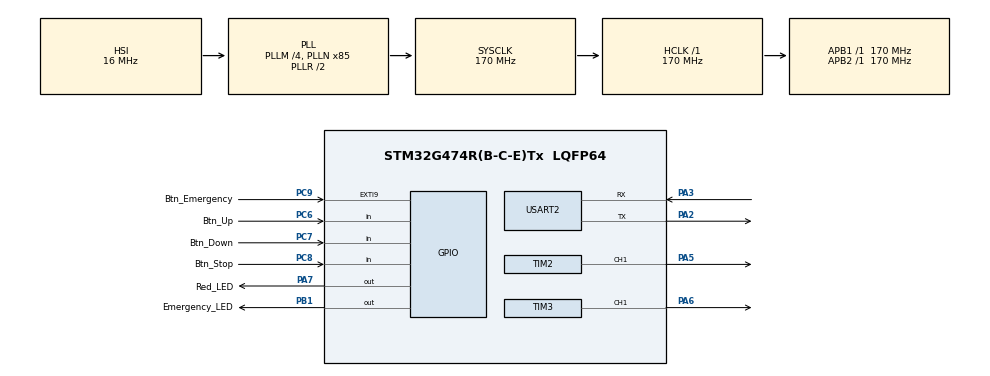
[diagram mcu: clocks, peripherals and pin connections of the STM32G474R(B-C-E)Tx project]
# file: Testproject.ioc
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Mcu.Family=STM32G4
Mcu.Name=STM32G474R(B-C-E)Tx
Mcu.Package=LQFP64
NVIC.EXTI9_5_IRQn=true\:0\:0\:false\:false\:true\:true\:true\:true
NVIC.PriorityGroup=NVIC_PRIORITYGROUP_4
NVIC.USART2_IRQn=true\:1\:0\:true\:false\:true\:true\:true\:true
PA13.GPIO_Label=T_SWDIO
PA13.Signal=SYS_JTMS-SWDIO
PA14.GPIO_Label=T_SWCLK
PA14.Signal=SYS_JTCK-SWCLK
PA2.Mode=Asynchronous
PA2.Signal=USART2_TX
PA3.Mode=Asynchronous
PA3.Signal=USART2_RX
PA5.Signal=S_TIM2_CH1
PA6.Signal=S_TIM3_CH1
PA7.GPIO_Label=Red_LED
PA7.Signal=GPIO_Output
PB1.GPIO_Label=Emergency_LED
PB1.Signal=GPIO_Output
PB3.GPIO_Label=T_SWO
PB3.Signal=SYS_JTDO-SWO
PC14-OSC32_IN.GPIO_Label=RCC_OSC32_IN
PC14-OSC32_IN.Signal=RCC_OSC32_IN
PC15-OSC32_OUT.GPIO_Label=RCC_OSC32_OUT
PC15-OSC32_OUT.Signal=RCC_OSC32_OUT
PC6.GPIO_Label=Btn_Up
PC6.GPIO_PuPd=GPIO_PULLUP
PC6.Signal=GPIO_Input
PC7.GPIO_Label=Btn_Down
PC7.GPIO_PuPd=GPIO_PULLUP
PC7.Signal=GPIO_Input
PC8.GPIO_Label=Btn_Stop
PC8.Signal=GPIO_Input
PC9.GPIO_Label=Btn_Emergency
PC9.Signal=GPXTI9
PF0-OSC_IN.GPIO_Label=RCC_OSC_IN
PF0-OSC_IN.Signal=RCC_OSC_IN
PF1-OSC_OUT.GPIO_Label=RCC_OSC_OUT
PF1-OSC_OUT.Signal=RCC_OSC_OUT
ProjectManager.HeapSize=0x200
ProjectManager.StackSize=0x400
ProjectManager.TargetToolchain=STM32CubeIDE
RCC.ADC12Freq_Value=170000000
RCC.ADC345Freq_Value=170000000
RCC.AHBFreq_Value=170000000
RCC.APB1Freq_Value=170000000
RCC.APB1TimFreq_Value=170000000
RCC.APB2Freq_Value=170000000
RCC.APB2TimFreq_Value=170000000
RCC.CortexFreq_Value=170000000
RCC.EXTERNAL_CLOCK_VALUE=12288000
RCC.HCLKFreq_Value=170000000
RCC.HSE_VALUE=24000000
RCC.HSI48_VALUE=48000000
RCC.HSI_VALUE=16000000
RCC.LSE_VALUE=32768
RCC.PLLM=RCC_PLLM_DIV4
RCC.PLLN=85
RCC.RTCClockSelection=RCC_RTCCLKSOURCE_LSE
RCC.SYSCLKFreq_VALUE=170000000
RCC.SYSCLKSource=RCC_SYSCLKSOURCE_PLLCLK
RCC.USBFreq_Value=170000000
RCC.VCOOutputFreq_Value=340000000
SH.S_TIM2_CH1.0=TIM2_CH1,PWM Generation1 CH1
SH.S_TIM3_CH1.0=TIM3_CH1,PWM Generation1 CH1
TIM2.Channel-PWM\ Generation1\ CH1=TIM_CHANNEL_1
TIM2.Prescaler=169
TIM3.Channel-PWM\ Generation1\ CH1=TIM_CHANNEL_1
TIM3.PeriodNoDither=99
TIM3.Prescaler=169
USART2.VirtualMode-Asynchronous=VM_ASYNC
VP_SYS_VS_DBSignals.Mode=DisableDeadBatterySignals
board=NUCLEO-G474RE

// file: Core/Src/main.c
/* USER CODE BEGIN Header */
/**
  * ******************************************************************************
  * @file           : main.c
  * @brief          : Smart Rolling Shutter Control System (STM32G474RE)
  * ******************************************************************************
  */
/* USER CODE END Header */

#include "main.h"
#include <stdio.h>
#include <string.h>

/* USER CODE BEGIN PTD */
typedef enum {
    STATE_STANDBY = 0,
    STATE_UP,
    STATE_DOWN,
    STATE_EMERGENCY,
    STATE_PAUSE
} SystemState_t;
/* USER CODE END PTD */

/* USER CODE BEGIN PD */
#define DEBOUNCE_DELAY_MS   10
#define SHUTTER_TRAVEL_MS   5000
#define PAUSE_DISPLAY_MS    3000
#define EMERGENCY_BLINK_MS  250
/* USER CODE END PD */

TIM_HandleTypeDef htim2;
TIM_HandleTypeDef htim3;
UART_HandleTypeDef huart2;

/* USER CODE BEGIN PV */
/* 狀態機與系統變數 */
volatile SystemState_t current_state = STATE_STANDBY;
volatile SystemState_t previous_state = STATE_STANDBY;

/* 系統日誌計數器 */
uint32_t total_ops_count = 0;
uint32_t up_count = 0;
uint32_t down_count = 0;
uint32_t stop_count = 0;
uint32_t emergency_count = 0;

/* 中斷與旗標變數 */
volatile uint8_t rx_char = 0;
volatile uint8_t emergency_flag = 0;
volatile uint8_t cmd_up_flag = 0;
volatile uint8_t cmd_down_flag = 0;
volatile uint8_t cmd_stop_flag = 0;
volatile uint8_t cmd_emergency_flag = 0;

/* 非阻塞計時基準點 */
uint32_t state_start_tick = 0;
uint32_t last_debounce_tick = 0;
uint32_t last_blink_tick = 0;
uint8_t emergency_led_state = 0;
/* USER CODE END PV */

void SystemClock_Config(void);
static void MX_GPIO_Init(void);
static void MX_USART2_UART_Init(void);
static void MX_TIM2_Init(void);
static void MX_TIM3_Init(void);
/* USER CODE BEGIN PFP */
void Log_System_Status(const char* cmd_name);
void Process_Commands(void);
void Button_Poll_Handler(void);
/* USER CODE END PFP */

/* USER CODE BEGIN 0 */

/**
  * @brief  PLC 聯網日誌輸出函式
  */
void Log_System_Status(const char* cmd_name) {
    char log_buf[128];
    uint32_t uptime_sec = HAL_GetTick() / 1000;

    int len = snprintf(log_buf, sizeof(log_buf),
        "[PLC LOG] Uptime: %lu s | Cmd: %s | Total: %lu | Up: %lu | Down: %lu | Stop: %lu | Emergency: %lu\r\n",
        uptime_sec, cmd_name, total_ops_count, up_count, down_count, stop_count, emergency_count);

    HAL_UART_Transmit(&huart2, (uint8_t*)log_buf, len, HAL_MAX_DELAY);
}

/**
  * @brief  UART 接收中斷回呼函式
  */
void HAL_UART_RxCpltCallback(UART_HandleTypeDef *huart) {
    if (huart->Instance == USART2) {
        if (rx_char == 'u' || rx_char == 'U') {
            cmd_up_flag = 1;
        } else if (rx_char == 'd' || rx_char == 'D') {
            cmd_down_flag = 1;
        } else if (rx_char == 's' || rx_char == 'S') {
            cmd_stop_flag = 1;
        } else if (rx_char == 'e' || rx_char == 'E' || rx_char == 'c' || rx_char == 'C') {
            cmd_emergency_flag = 1;
        }
        // 重新啟動接收中斷
        HAL_UART_Receive_IT(&huart2, (uint8_t*)&rx_char, 1);
    }
}

/**
  * @brief  外部中斷回呼函式 (處理緊急按鈕 PC9)
  */
void HAL_GPIO_EXTI_Callback(uint16_t GPIO_Pin) {
    if (GPIO_Pin == Btn_Emergency_Pin) {
        cmd_emergency_flag = 1;
    }
}

/**
  * @brief  按鈕 10ms 防彈跳輪詢處理
  */
void Button_Poll_Handler(void) {
    if ((HAL_GetTick() - last_debounce_tick) < DEBOUNCE_DELAY_MS) {
        return;
    }
    last_debounce_tick = HAL_GetTick();

    // PC6: Btn_Up (Active Low with Pull-up)
    if (HAL_GPIO_ReadPin(Btn_Up_GPIO_Port, Btn_Up_Pin) == GPIO_PIN_RESET) {
        if (current_state == STATE_STANDBY || current_state == STATE_PAUSE) {
            cmd_up_flag = 1;
        }
    }
    // PC7: Btn_Down (Active Low with Pull-up)
    if (HAL_GPIO_ReadPin(Btn_Down_GPIO_Port, Btn_Down_Pin) == GPIO_PIN_RESET) {
        if (current_state == STATE_STANDBY || current_state == STATE_PAUSE) {
            cmd_down_flag = 1;
        }
    }
    // PC8: Btn_Stop (Active Low with Pull-up)
    if (HAL_GPIO_ReadPin(Btn_Stop_GPIO_Port, Btn_Stop_Pin) == GPIO_PIN_RESET) {
        if (current_state == STATE_UP || current_state == STATE_DOWN) {
            cmd_stop_flag = 1;
        }
    }
}

/**
  * @brief  統一指令解析與狀態切換分派
  */
void Process_Commands(void) {
    // 優先處理緊急中斷/指令
    if (cmd_emergency_flag) {
        cmd_emergency_flag = 0;
        emergency_count++;
        total_ops_count++;

        if (current_state != STATE_EMERGENCY) {
            current_state = STATE_EMERGENCY;
            Log_System_Status("EMERGENCY_TRIGGER");
        } else {
            // 再次觸發解除互鎖回到待機
            current_state = STATE_STANDBY;
            Log_System_Status("EMERGENCY_RELEASE");
        }
        // 清除所有 PWM 與動作輸出
        __HAL_TIM_SET_COMPARE(&htim2, TIM_CHANNEL_1, 0);
        __HAL_TIM_SET_COMPARE(&htim3, TIM_CHANNEL_1, 0);
        HAL_TIM_PWM_Stop(&htim2, TIM_CHANNEL_1);
        HAL_TIM_PWM_Stop(&htim3, TIM_CHANNEL_1);
        HAL_GPIO_WritePin(Red_LED_GPIO_Port, Red_LED_Pin, GPIO_PIN_RESET);
        return;
    }

    // 若處於緊急狀態，阻擋其他普通指令
    if (current_state == STATE_EMERGENCY) {
        cmd_up_flag = 0;
        cmd_down_flag = 0;
        cmd_stop_flag = 0;
        return;
    }

    // 處理上升指令
    if (cmd_up_flag) {
        cmd_up_flag = 0;
        if (current_state == STATE_STANDBY || current_state == STATE_PAUSE) {
            up_count++;
            total_ops_count++;
            current_state = STATE_UP;
            state_start_tick = HAL_GetTick();

            // 從暫停切換回上升時，強制關閉紅燈
            HAL_GPIO_WritePin(Red_LED_GPIO_Port, Red_LED_Pin, GPIO_PIN_RESET);

            // 啟動 TIM2 綠燈 PWM
            HAL_TIM_PWM_Start(&htim2, TIM_CHANNEL_1);
            __HAL_TIM_SET_COMPARE(&htim3, TIM_CHANNEL_1, 0);
            HAL_TIM_PWM_Stop(&htim3, TIM_CHANNEL_1);

            Log_System_Status("CMD_UP_START");
        }
    }

    // 處理下降指令
    if (cmd_down_flag) {
        cmd_down_flag = 0;
        if (current_state == STATE_STANDBY || current_state == STATE_PAUSE) {
            down_count++;
            total_ops_count++;
            current_state = STATE_DOWN;
            state_start_tick = HAL_GetTick();

            // 從暫停切換回下降時，強制關閉紅燈
            HAL_GPIO_WritePin(Red_LED_GPIO_Port, Red_LED_Pin, GPIO_PIN_RESET);

            // 啟動 TIM3 黃燈 PWM
            HAL_TIM_PWM_Start(&htim3, TIM_CHANNEL_1);
            __HAL_TIM_SET_COMPARE(&htim2, TIM_CHANNEL_1, 0);
            HAL_TIM_PWM_Stop(&htim2, TIM_CHANNEL_1);

            Log_System_Status("CMD_DOWN_START");
        }
    }

    // 處理停止指令
    if (cmd_stop_flag) {
        cmd_stop_flag = 0;
        if (current_state == STATE_UP || current_state == STATE_DOWN) {
            stop_count++;
            total_ops_count++;
            current_state = STATE_PAUSE;
            state_start_tick = HAL_GetTick();

            // 停止 PWM 並點亮紅燈
            __HAL_TIM_SET_COMPARE(&htim2, TIM_CHANNEL_1, 0);
            __HAL_TIM_SET_COMPARE(&htim3, TIM_CHANNEL_1, 0);
            HAL_TIM_PWM_Stop(&htim2, TIM_CHANNEL_1);
            HAL_TIM_PWM_Stop(&htim3, TIM_CHANNEL_1);
            HAL_GPIO_WritePin(Red_LED_GPIO_Port, Red_LED_Pin, GPIO_PIN_SET);

            Log_System_Status("CMD_STOP");
        }
    }
}
/* USER CODE END P0 */

int main(void)
{

  /* MCU Configuration--------------------------------------------------------*/

  /* Reset of all peripherals, Initializes the Flash interface and the Systick. */
  HAL_Init();

  /* Configure the system clock */
  SystemClock_Config();

  /* Initialize all peripherals */
  MX_GPIO_Init();
  MX_USART2_UART_Init();
  MX_TIM2_Init();
  MX_TIM3_Init();
  /* USER CODE BEGIN 2 */

  // 啟動 UART 接收中斷
  HAL_UART_Receive_IT(&huart2, (uint8_t*)&rx_char, 1);

  // 初始系統狀態提示
  char *welcome_msg = "\r\n=== NUCLEO-G474RE Smart Rolling Shutter System Initialized ===\r\n";
  HAL_UART_Transmit(&huart2, (uint8_t*)welcome_msg, strlen(welcome_msg), HAL_MAX_DELAY);

  /* USER CODE END 2 */

  /* Infinite loop */
  /* USER CODE BEGIN WHILE */
  while (1)
  {
      // 1. 輪詢防彈跳按鈕
      Button_Poll_Handler();

      // 2. 處理指令與狀態轉換
      Process_Commands();

      // 3. 有限狀態機 (FSM) 運行邏輯
      switch (current_state)
      {
          case STATE_STANDBY:
              HAL_GPIO_WritePin(Red_LED_GPIO_Port, Red_LED_Pin, GPIO_PIN_RESET);
              HAL_GPIO_WritePin(Emergency_LED_GPIO_Port, Emergency_LED_Pin, GPIO_PIN_RESET);
              break;

          case STATE_UP:
          {
              uint32_t elapsed = HAL_GetTick() - state_start_tick;
              if (elapsed >= SHUTTER_TRAVEL_MS) {
                  current_state = STATE_PAUSE;
                  state_start_tick = HAL_GetTick();
                  __HAL_TIM_SET_COMPARE(&htim2, TIM_CHANNEL_1, 0);
                  HAL_TIM_PWM_Stop(&htim2, TIM_CHANNEL_1);
                  HAL_GPIO_WritePin(Red_LED_GPIO_Port, Red_LED_Pin, GPIO_PIN_SET);
                  stop_count++;
                  total_ops_count++;
                  Log_System_Status("UP_COMPLETE_AUTO_PAUSE");
              } else {
                  uint32_t duty = (elapsed * 99) / SHUTTER_TRAVEL_MS;
                  if (duty > 99) duty = 99;
                  __HAL_TIM_SET_COMPARE(&htim2, TIM_CHANNEL_1, duty);
              }
              break;
          }

          case STATE_DOWN:
          {
              uint32_t elapsed = HAL_GetTick() - state_start_tick;
              if (elapsed >= SHUTTER_TRAVEL_MS) {
                  current_state = STATE_PAUSE;
                  state_start_tick = HAL_GetTick();
                  __HAL_TIM_SET_COMPARE(&htim3, TIM_CHANNEL_1, 0);
                  HAL_TIM_PWM_Stop(&htim3, TIM_CHANNEL_1);
                  HAL_GPIO_WritePin(Red_LED_GPIO_Port, Red_LED_Pin, GPIO_PIN_SET);
                  stop_count++;
                  total_ops_count++;
                  Log_System_Status("DOWN_COMPLETE_AUTO_PAUSE");
              } else {
                  uint32_t duty = (elapsed * 99) / SHUTTER_TRAVEL_MS;
                  if (duty > 99) duty = 99;
                  __HAL_TIM_SET_COMPARE(&htim3, TIM_CHANNEL_1, duty);
              }
              break;
          }

          case STATE_PAUSE:
          {
              if ((HAL_GetTick() - state_start_tick) >= PAUSE_DISPLAY_MS) {
                  HAL_GPIO_WritePin(Red_LED_GPIO_Port, Red_LED_Pin, GPIO_PIN_RESET);
                  current_state = STATE_STANDBY;
                  Log_System_Status("PAUSE_TIMEOUT_TO_STANDBY");
              }
              break;
          }

          case STATE_EMERGENCY:
          {
              __HAL_TIM_SET_COMPARE(&htim2, TIM_CHANNEL_1, 0);
              __HAL_TIM_SET_COMPARE(&htim3, TIM_CHANNEL_1, 0);
              HAL_GPIO_WritePin(Red_LED_GPIO_Port, Red_LED_Pin, GPIO_PIN_RESET);

              if ((HAL_GetTick() - last_blink_tick) >= EMERGENCY_BLINK_MS) {
                  last_blink_tick = HAL_GetTick();
                  emergency_led_state ^= 1;
                  HAL_GPIO_WritePin(Emergency_LED_GPIO_Port, Emergency_LED_Pin,
                                    emergency_led_state ? GPIO_PIN_SET : GPIO_PIN_RESET);
              }
              break;
          }

          default:
              current_state = STATE_STANDBY;
              break;
      }

      HAL_Delay(1);
    /* USER CODE END WHILE */

  }
}

void SystemClock_Config(void)
{
  RCC_OscInitTypeDef RCC_OscInitStruct = {0};
  RCC_ClkInitTypeDef RCC_ClkInitStruct = {0};

  /** Configure the main internal regulator output voltage
  */
  HAL_PWREx_ControlVoltageScaling(PWR_REGULATOR_VOLTAGE_SCALE1_BOOST);

  /** Initializes the RCC Oscillators according to the specified parameters
  * in the RCC_OscInitTypeDef structure.
  */
  RCC_OscInitStruct.OscillatorType = RCC_OSCILLATORTYPE_HSI;
  RCC_OscInitStruct.HSIState = RCC_HSI_ON;
  RCC_OscInitStruct.HSICalibrationValue = RCC_HSICALIBRATION_DEFAULT;
  RCC_OscInitStruct.PLL.PLLState = RCC_PLL_ON;
  RCC_OscInitStruct.PLL.PLLSource = RCC_PLLSOURCE_HSI;
  RCC_OscInitStruct.PLL.PLLM = RCC_PLLM_DIV4;
  RCC_OscInitStruct.PLL.PLLN = 85;
  RCC_OscInitStruct.PLL.PLLP = RCC_PLLP_DIV2;
  RCC_OscInitStruct.PLL.PLLQ = RCC_PLLQ_DIV2;
  RCC_OscInitStruct.PLL.PLLR = RCC_PLLR_DIV2;
  if (HAL_RCC_OscConfig(&RCC_OscInitStruct) != HAL_OK)
  {
    Error_Handler();
  }

  /** Initializes the CPU, AHB and APB buses
  */
  RCC_ClkInitStruct.ClockType = RCC_CLOCKTYPE_HCLK|RCC_CLOCKTYPE_SYSCLK
                              |RCC_CLOCKTYPE_PCLK1|RCC_CLOCKTYPE_PCLK2;
  RCC_ClkInitStruct.SYSCLKSource = RCC_SYSCLKSOURCE_PLLCLK;
  RCC_ClkInitStruct.AHBCLKDivider = RCC_SYSCLK_DIV1;
  RCC_ClkInitStruct.APB1CLKDivider = RCC_HCLK_DIV1;
  RCC_ClkInitStruct.APB2CLKDivider = RCC_HCLK_DIV1;

  if (HAL_RCC_ClockConfig(&RCC_ClkInitStruct, FLASH_LATENCY_4) != HAL_OK)
  {
    Error_Handler();
  }
}

static void MX_TIM2_Init(void)
{
  TIM_MasterConfigTypeDef sMasterConfig = {0};
  TIM_OC_InitTypeDef sConfigOC = {0};

  htim2.Instance = TIM2;
  htim2.Init.Prescaler = 170 - 1;
  htim2.Init.CounterMode = TIM_COUNTERMODE_UP;
  htim2.Init.Period = 99;
  htim2.Init.ClockDivision = TIM_CLOCKDIVISION_DIV1;
  htim2.Init.AutoReloadPreload = TIM_AUTORELOAD_PRELOAD_DISABLE;
  if (HAL_TIM_PWM_Init(&htim2) != HAL_OK)
  {
    Error_Handler();
  }
  sMasterConfig.MasterOutputTrigger = TIM_TRGO_RESET;
  sMasterConfig.MasterSlaveMode = TIM_SLAVEMODE_DISABLE;
  if (HAL_TIMEx_MasterConfigSynchronization(&htim2, &sMasterConfig) != HAL_OK)
  {
    Error_Handler();
  }
  sConfigOC.OCMode = TIM_OCMODE_PWM1;
  sConfigOC.Pulse = 0;
  sConfigOC.OCPolarity = TIM_OCPOLARITY_HIGH;
  sConfigOC.OCFastMode = TIM_OCFAST_DISABLE;
  if (HAL_TIM_PWM_ConfigChannel(&htim2, &sConfigOC, TIM_CHANNEL_1) != HAL_OK)
  {
    Error_Handler();
  }

  HAL_TIM_MspPostInit(&htim2);
}

static void MX_TIM3_Init(void)
{
  TIM_MasterConfigTypeDef sMasterConfig = {0};
  TIM_OC_InitTypeDef sConfigOC = {0};

  htim3.Instance = TIM3;
  htim3.Init.Prescaler = 170 - 1;
  htim3.Init.CounterMode = TIM_COUNTERMODE_UP;
  htim3.Init.Period = 99;
  htim3.Init.ClockDivision = TIM_CLOCKDIVISION_DIV1;
  htim3.Init.AutoReloadPreload = TIM_AUTORELOAD_PRELOAD_DISABLE;
  if (HAL_TIM_PWM_Init(&htim3) != HAL_OK)
  {
    Error_Handler();
  }
  sMasterConfig.MasterOutputTrigger = TIM_TRGO_RESET;
  sMasterConfig.MasterSlaveMode = TIM_SLAVEMODE_DISABLE;
  if (HAL_TIMEx_MasterConfigSynchronization(&htim3, &sMasterConfig) != HAL_OK)
  {
    Error_Handler();
  }
  sConfigOC.OCMode = TIM_OCMODE_PWM1;
  sConfigOC.Pulse = 0;
  sConfigOC.OCPolarity = TIM_OCPOLARITY_HIGH;
  sConfigOC.OCFastMode = TIM_OCFAST_DISABLE;
  if (HAL_TIM_PWM_ConfigChannel(&htim3, &sConfigOC, TIM_CHANNEL_1) != HAL_OK)
  {
    Error_Handler();
  }

  HAL_TIM_MspPostInit(&htim3);
}

static void MX_USART2_UART_Init(void)
{
  huart2.Instance = USART2;
  huart2.Init.BaudRate = 115200;
  huart2.Init.WordLength = UART_WORDLENGTH_8B;
  huart2.Init.StopBits = UART_STOPBITS_1;
  huart2.Init.Parity = UART_PARITY_NONE;
  huart2.Init.Mode = UART_MODE_TX_RX;
  huart2.Init.HwFlowCtl = UART_HWCONTROL_NONE;
  huart2.Init.OverSampling = UART_OVERSAMPLING_16;

  if (HAL_UART_Init(&huart2) != HAL_OK)
  {
    Error_Handler();
  }
}

static void MX_GPIO_Init(void)
{
  GPIO_InitTypeDef GPIO_InitStruct = {0};

  /* GPIO Ports Clock Enable */
  __HAL_RCC_GPIOA_CLK_ENABLE();
  __HAL_RCC_GPIOB_CLK_ENABLE();
  __HAL_RCC_GPIOC_CLK_ENABLE();

  /*Configure GPIO pin Output Level */
  HAL_GPIO_WritePin(Red_LED_GPIO_Port, Red_LED_Pin, GPIO_PIN_RESET);
  HAL_GPIO_WritePin(Emergency_LED_GPIO_Port, Emergency_LED_Pin, GPIO_PIN_RESET);

  /*Configure GPIO pins : PC6 PC7 PC8 */
  GPIO_InitStruct.Pin = Btn_Up_Pin | Btn_Down_Pin | Btn_Stop_Pin;
  GPIO_InitStruct.Mode = GPIO_MODE_INPUT;
  GPIO_InitStruct.Pull = GPIO_PULLUP;
  HAL_GPIO_Init(GPIOC, &GPIO_InitStruct);

  /*Configure GPIO pin : PC9 (Emergency Button EXTI) */
  GPIO_InitStruct.Pin = Btn_Emergency_Pin;
  GPIO_InitStruct.Mode = GPIO_MODE_IT_FALLING;
  GPIO_InitStruct.Pull = GPIO_PULLUP;
  HAL_GPIO_Init(Btn_Emergency_GPIO_Port, &GPIO_InitStruct);

  /*Configure GPIO pins : PA7 Red_LED */
  GPIO_InitStruct.Pin = Red_LED_Pin;
  GPIO_InitStruct.Mode = GPIO_MODE_OUTPUT_PP;
  GPIO_InitStruct.Pull = GPIO_NOPULL;
  GPIO_InitStruct.Speed = GPIO_SPEED_FREQ_LOW;
  HAL_GPIO_Init(Red_LED_GPIO_Port, &GPIO_InitStruct);

  /*Configure GPIO pins : PB1 Emergency_LED */
  GPIO_InitStruct.Pin = Emergency_LED_Pin;
  GPIO_InitStruct.Mode = GPIO_MODE_OUTPUT_PP;
  GPIO_InitStruct.Pull = GPIO_NOPULL;
  GPIO_InitStruct.Speed = GPIO_SPEED_FREQ_LOW;
  HAL_GPIO_Init(Emergency_LED_GPIO_Port, &GPIO_InitStruct);

  /* EXTI interrupt init-> NVIC Priority */
  HAL_NVIC_SetPriority(EXTI9_5_IRQn, 0, 0);
  HAL_NVIC_EnableIRQ(EXTI9_5_IRQn);
}

/* USER CODE BEGIN 4 */
// 注意：HAL_TIM_MspPostInit 已交由 CubeMX 自動在 stm32g4xx_hal_msp.c 中生成，此處保持空白避免重複定義
/* USER CODE END 4 */

/**
  * @brief  This application is executed in the case of error occurrence.
  * @retval None
  */
void Error_Handler(void)
{
  __disable_irq();
  while (1)
  {
  }
}
